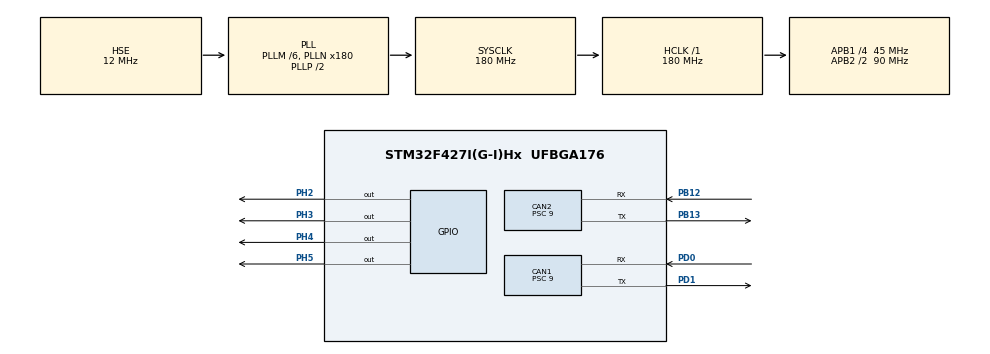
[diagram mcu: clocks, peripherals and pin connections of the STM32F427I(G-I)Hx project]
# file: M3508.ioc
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CAN1.BS1=CAN_BS1_2TQ
CAN1.BS2=CAN_BS2_2TQ
CAN1.CalculateBaudRate=1000000
CAN1.CalculateTimeBit=1000
CAN1.CalculateTimeQuantum=200.0
CAN1.Prescaler=9
CAN2.BS1=CAN_BS1_2TQ
CAN2.BS2=CAN_BS2_2TQ
CAN2.CalculateBaudRate=1000000
CAN2.CalculateTimeBit=1000
CAN2.CalculateTimeQuantum=200.0
CAN2.Prescaler=9
Mcu.Family=STM32F4
Mcu.Name=STM32F427I(G-I)Hx
Mcu.Package=UFBGA176
NVIC.PriorityGroup=NVIC_PRIORITYGROUP_4
PA13.Mode=Serial_Wire
PA13.Signal=SYS_JTMS-SWDIO
PA14.Mode=Serial_Wire
PA14.Signal=SYS_JTCK-SWCLK
PB12.Mode=CAN_Activate
PB12.Signal=CAN2_RX
PB13.Mode=CAN_Activate
PB13.Signal=CAN2_TX
PD0.Mode=CAN_Activate
PD0.Signal=CAN1_RX
PD1.Mode=CAN_Activate
PD1.Signal=CAN1_TX
PH0/OSC_IN.Mode=HSE-External-Oscillator
PH0/OSC_IN.Signal=RCC_OSC_IN
PH1/OSC_OUT.Mode=HSE-External-Oscillator
PH1/OSC_OUT.Signal=RCC_OSC_OUT
PH2.GPIO_PuPd=GPIO_PULLUP
PH2.PinState=GPIO_PIN_RESET
PH2.Signal=GPIO_Output
PH3.GPIO_PuPd=GPIO_PULLUP
PH3.Signal=GPIO_Output
PH4.GPIO_PuPd=GPIO_PULLUP
PH4.Signal=GPIO_Output
PH5.GPIO_PuPd=GPIO_PULLUP
PH5.Signal=GPIO_Output
ProjectManager.HeapSize=0x200
ProjectManager.StackSize=0x400
ProjectManager.TargetToolchain=MDK-ARM V5.32
RCC.48MHZClocksFreq_Value=90000000
RCC.AHBFreq_Value=180000000
RCC.APB1CLKDivider=RCC_HCLK_DIV4
RCC.APB1Freq_Value=45000000
RCC.APB1TimFreq_Value=90000000
RCC.APB2CLKDivider=RCC_HCLK_DIV2
RCC.APB2Freq_Value=90000000
RCC.APB2TimFreq_Value=180000000
RCC.CortexFreq_Value=180000000
RCC.HCLKFreq_Value=180000000
RCC.HSE_VALUE=12000000
RCC.HSI_VALUE=16000000
RCC.LSE_VALUE=32768
RCC.PLLM=6
RCC.PLLN=180
RCC.PLLSourceVirtual=RCC_PLLSOURCE_HSE
RCC.SYSCLKFreq_VALUE=180000000
RCC.SYSCLKSource=RCC_SYSCLKSOURCE_PLLCLK
RCC.VCOOutputFreq_Value=360000000
board=custom

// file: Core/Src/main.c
/* USER CODE BEGIN Header */
/**
  ******************************************************************************
  * @file           : main.c
  * @brief          : Main program body
  ******************************************************************************
  * @attention
  *
  * Copyright (c) 2026 STMicroelectronics.
  * All rights reserved.
  *
  * This software is licensed under terms that can be found in the LICENSE file
  * in the root directory of this software component.
  * If no LICENSE file comes with this software, it is provided AS-IS.
  *
  ******************************************************************************
  */
/* USER CODE END Header */
#include "main.h"
#include "can.h"
#include "gpio.h"

/* USER CODE BEGIN Includes */

#include "drv_bsp.h"
#include "drv_can.h"

/* USER CODE END Includes */

void SystemClock_Config(void);

/* USER CODE BEGIN 0 */

/*空回调函数*/
void NULL_Call_Back(Struct_CAN_Rx_Buffer *Rx_Buffer)
{

}

/* USER CODE END 0 */

int main(void)
{

  /* MCU Configuration--------------------------------------------------------*/

  /* Reset of all peripherals, Initializes the Flash interface and the Systick. */
  HAL_Init();

  /* Configure the system clock */
  SystemClock_Config();

  /* Initialize all configured peripherals */
  MX_GPIO_Init();
  MX_CAN1_Init();
  MX_CAN2_Init();
  /* USER CODE BEGIN 2 */

	//BSP_Init(BSP_DC24_LD_ON);//开启左下角24v电源
	BSP_Init(BSP_DC24_LD_ON | BSP_DC24_LU_ON | BSP_DC24_RD_ON | BSP_DC24_RU_ON);//开启4个24v电源
	CAN_Init(&hcan1, NULL_Call_Back);

  /* USER CODE END 2 */

  /* Infinite loop */
  /* USER CODE BEGIN WHILE */
	int16_t torque = 0;//扭矩(电流)

  while (1)
  {
		while(torque < 1000)//电流从0涨到1000
		{
			torque += 50;
			CAN1_0x200_Tx_Data[0] = torque >> 8;
			CAN1_0x200_Tx_Data[1] = torque;

			CAN_Send_Data(&hcan1, 0x200, CAN1_0x200_Tx_Data, 8);
			HAL_Delay(50);
		}

		while(torque > -1000)//电流从0涨到1000
		{
			torque -= 50;
			CAN1_0x200_Tx_Data[0] = torque >> 8;
			CAN1_0x200_Tx_Data[1] = torque;

			CAN_Send_Data(&hcan1, 0x200, CAN1_0x200_Tx_Data, 8);
			HAL_Delay(50);
		}

    /* USER CODE END WHILE */

  }
}

void SystemClock_Config(void)
{
  RCC_OscInitTypeDef RCC_OscInitStruct = {0};
  RCC_ClkInitTypeDef RCC_ClkInitStruct = {0};

  /** Configure the main internal regulator output voltage
  */
  __HAL_RCC_PWR_CLK_ENABLE();
  __HAL_PWR_VOLTAGESCALING_CONFIG(PWR_REGULATOR_VOLTAGE_SCALE1);

  /** Initializes the RCC Oscillators according to the specified parameters
  * in the RCC_OscInitTypeDef structure.
  */
  RCC_OscInitStruct.OscillatorType = RCC_OSCILLATORTYPE_HSE;
  RCC_OscInitStruct.HSEState = RCC_HSE_ON;
  RCC_OscInitStruct.PLL.PLLState = RCC_PLL_ON;
  RCC_OscInitStruct.PLL.PLLSource = RCC_PLLSOURCE_HSE;
  RCC_OscInitStruct.PLL.PLLM = 6;
  RCC_OscInitStruct.PLL.PLLN = 180;
  RCC_OscInitStruct.PLL.PLLP = RCC_PLLP_DIV2;
  RCC_OscInitStruct.PLL.PLLQ = 4;
  if (HAL_RCC_OscConfig(&RCC_OscInitStruct) != HAL_OK)
  {
    Error_Handler();
  }

  /** Activate the Over-Drive mode
  */
  if (HAL_PWREx_EnableOverDrive() != HAL_OK)
  {
    Error_Handler();
  }

  /** Initializes the CPU, AHB and APB buses clocks
  */
  RCC_ClkInitStruct.ClockType = RCC_CLOCKTYPE_HCLK|RCC_CLOCKTYPE_SYSCLK
                              |RCC_CLOCKTYPE_PCLK1|RCC_CLOCKTYPE_PCLK2;
  RCC_ClkInitStruct.SYSCLKSource = RCC_SYSCLKSOURCE_PLLCLK;
  RCC_ClkInitStruct.AHBCLKDivider = RCC_SYSCLK_DIV1;
  RCC_ClkInitStruct.APB1CLKDivider = RCC_HCLK_DIV4;
  RCC_ClkInitStruct.APB2CLKDivider = RCC_HCLK_DIV2;

  if (HAL_RCC_ClockConfig(&RCC_ClkInitStruct, FLASH_LATENCY_5) != HAL_OK)
  {
    Error_Handler();
  }
}

void Error_Handler(void)
{
  __disable_irq();
  while (1)
  {
  }
}
